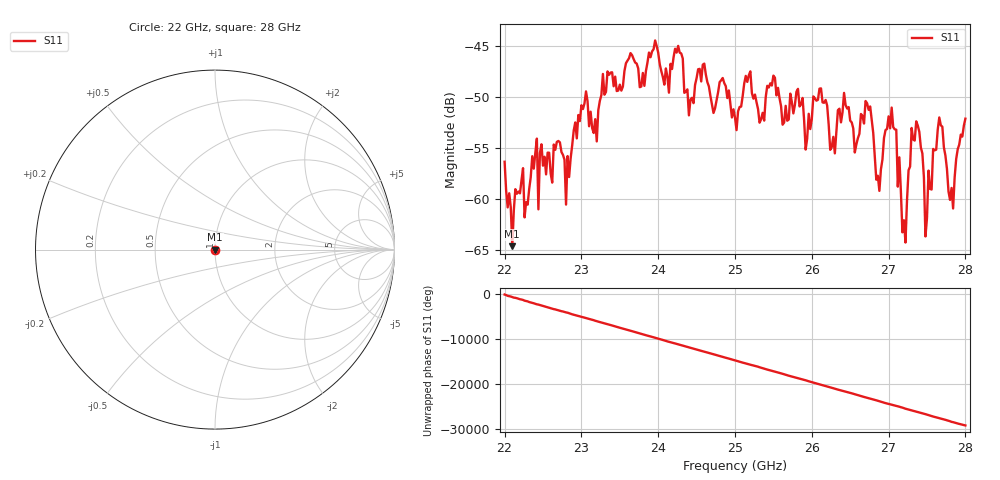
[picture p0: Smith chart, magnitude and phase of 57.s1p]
#  HZ  S  RI  R  50.00
! Rohde & Schwarz ZVA40 4Ports - Version 3.90 - 1145.1110k42 SN: 100403
! Date: 2023-10-04 06:30:05
! Measurement: S12
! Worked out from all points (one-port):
!   301 points, 22 GHz to 28 GHz, reference 50 ohm
!   lowest |S11| = -64.7 dB at 22.1 GHz (marker M1), VSWR 1.00, Z = 50.1 - j8.25e-05 ohm
!   |S11| at or under -10 dB: start of sweep to end of sweep
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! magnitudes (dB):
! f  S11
! 22 GHz  -56.4
! 22.1 GHz  -64.7
! 22.42 GHz  -54.1
! 22.44 GHz  -61.0
! 22.48 GHz  -54.7
! 22.76 GHz  -55.7
! 22.8 GHz  -60.6
! 23.06 GHz  -49.5
! 23.2 GHz  -54.4
! 23.28 GHz  -47.8
! 23.5 GHz  -48.8
! 24.26 GHz  -45.0
! 24.4 GHz  -51.8
! 24.6 GHz  -46.7
! 25 GHz  -52.0
! 25.2 GHz  -47.5
! 25.76 GHz  -51.6
! 26.5 GHz  -52.3
! 26.76 GHz  -50.9
! 26.88 GHz  -59.2
! 27.04 GHz  -51.1
! 27.22 GHz  -64.3
! 27.26 GHz  -57.2
! 27.38 GHz  -52.8
! 27.48 GHz  -63.7
! 27.66 GHz  -52.0
! 27.84 GHz  -61.0
! 28 GHz  -52.1
